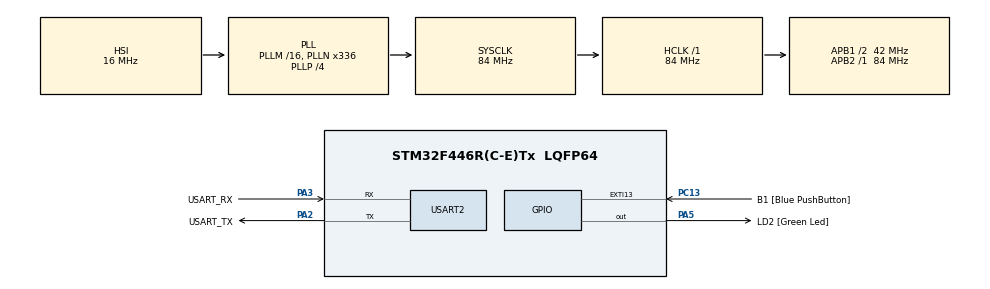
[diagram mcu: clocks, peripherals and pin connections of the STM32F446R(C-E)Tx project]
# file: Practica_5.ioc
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Mcu.Family=STM32F4
Mcu.Name=STM32F446R(C-E)Tx
Mcu.Package=LQFP64
NVIC.PriorityGroup=NVIC_PRIORITYGROUP_0
NVIC.USART2_IRQn=true\:0\:0\:false\:false\:true\:true\:true\:true
PA13.GPIO_Label=TMS
PA13.Mode=Serial_Wire
PA13.Signal=SYS_JTMS-SWDIO
PA14.GPIO_Label=TCK
PA14.Mode=Serial_Wire
PA14.Signal=SYS_JTCK-SWCLK
PA2.GPIO_Label=USART_TX
PA2.Mode=Asynchronous
PA2.Signal=USART2_TX
PA3.GPIO_Label=USART_RX
PA3.Mode=Asynchronous
PA3.Signal=USART2_RX
PA5.GPIO_Label=LD2 [Green Led]
PA5.Signal=GPIO_Output
PB3.GPIO_Label=SWO
PB3.Signal=SYS_JTDO-SWO
PC13.GPIO_Label=B1 [Blue PushButton]
PC13.GPIO_ModeDefaultEXTI=GPIO_MODE_IT_FALLING
PC13.Signal=GPXTI13
PC14-OSC32_IN.Mode=LSE-External-Oscillator
PC14-OSC32_IN.Signal=RCC_OSC32_IN
PC15-OSC32_OUT.Mode=LSE-External-Oscillator
PC15-OSC32_OUT.Signal=RCC_OSC32_OUT
PH0-OSC_IN.Mode=HSE-External-Oscillator
PH0-OSC_IN.Signal=RCC_OSC_IN
PH1-OSC_OUT.Mode=HSE-External-Oscillator
PH1-OSC_OUT.Signal=RCC_OSC_OUT
ProjectManager.HeapSize=0x200
ProjectManager.StackSize=0x400
ProjectManager.TargetToolchain=STM32CubeIDE
RCC.48MHZClocksFreq_Value=84000000
RCC.AHBFreq_Value=84000000
RCC.APB1CLKDivider=RCC_HCLK_DIV2
RCC.APB1Freq_Value=42000000
RCC.APB1TimFreq_Value=84000000
RCC.APB2Freq_Value=84000000
RCC.APB2TimFreq_Value=84000000
RCC.CortexFreq_Value=84000000
RCC.FLatency-AdvancedSettings=FLASH_LATENCY_2
RCC.HCLKFreq_Value=84000000
RCC.HSE_VALUE=8000000
RCC.HSI_VALUE=16000000
RCC.PLLN=336
RCC.PLLP=RCC_PLLP_DIV4
RCC.SYSCLKFreq_VALUE=84000000
RCC.SYSCLKSource=RCC_SYSCLKSOURCE_PLLCLK
RCC.USBFreq_Value=168000000
RCC.VCOOutputFreq_Value=336000000
USART2.VirtualMode=VM_ASYNC
board=NUCLEO-F446RE

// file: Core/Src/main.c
/* USER CODE BEGIN Header */
/**
  ******************************************************************************
  * @file           : main.c
  * @brief          : Main program body
  ******************************************************************************
  * @attention
  *
  * Copyright (c) 2025 STMicroelectronics.
  * All rights reserved.
  *
  * This software is licensed under terms that can be found in the LICENSE file
  * in the root directory of this software component.
  * If no LICENSE file comes with this software, it is provided AS-IS.
  *
  ******************************************************************************
  */
/* USER CODE END Header */
#include "main.h"

/* USER CODE BEGIN Includes */
#include <stdint.h>
#include <API_delay.h>
#include <API_debounce.h>
#include <API_uart.h>
/* USER CODE END Includes */

UART_HandleTypeDef huart2;

void SystemClock_Config(void);
static void MX_GPIO_Init(void);
static void MX_USART2_UART_Init(void);

int main(void)
{

  /* MCU Configuration--------------------------------------------------------*/

  /* Reset of all peripherals, Initializes the Flash interface and the Systick. */
  HAL_Init();

  /* Configure the system clock */
  SystemClock_Config();

  /* Initialize all configured peripherals */
  MX_GPIO_Init();
  MX_USART2_UART_Init();
  uartInit();
  /* USER CODE BEGIN 2 */
  // Different time periods to iterate
  uint32_t time_array [] = {500, 100};
  // Size of time array
  static const int t_size = sizeof(time_array) / sizeof(time_array[0]);
  // Variable to select blinking period
  uint8_t time_select = 0;
  delay_t delay;
  /* USER CODE END 2 */

  /* Infinite loop */
  /* USER CODE BEGIN WHILE */
  // We begin with a turned off LED
  HAL_GPIO_WritePin(LD2_GPIO_Port, LD2_Pin, GPIO_PIN_RESET);
  delayInit(&delay, time_array[time_select]);

  while (1)
  {
	  // If sufficient time elapsed, toggle LED
	  if(delayRead(&delay)){
		  HAL_GPIO_TogglePin(LD2_GPIO_Port, LD2_Pin);
		  // Re-initialize the timer
		  delayInit(&delay, time_array[time_select]);
	  }

	  debounceFSM_update();
	  uartCheckCommand_IT();    // Reacciona si llegó un 'c'

	  // Check if the pattern amount was met
	  if(read_key()){
		  // Select next time on a circle array
		  time_select = (time_select + 1)% t_size;
	  }
    /* USER CODE END WHILE */

  }
}

void SystemClock_Config(void)
{
  RCC_OscInitTypeDef RCC_OscInitStruct = {0};
  RCC_ClkInitTypeDef RCC_ClkInitStruct = {0};

  /** Configure the main internal regulator output voltage
  */
  __HAL_RCC_PWR_CLK_ENABLE();
  __HAL_PWR_VOLTAGESCALING_CONFIG(PWR_REGULATOR_VOLTAGE_SCALE3);

  /** Initializes the RCC Oscillators according to the specified parameters
  * in the RCC_OscInitTypeDef structure.
  */
  RCC_OscInitStruct.OscillatorType = RCC_OSCILLATORTYPE_HSI;
  RCC_OscInitStruct.HSIState = RCC_HSI_ON;
  RCC_OscInitStruct.HSICalibrationValue = RCC_HSICALIBRATION_DEFAULT;
  RCC_OscInitStruct.PLL.PLLState = RCC_PLL_ON;
  RCC_OscInitStruct.PLL.PLLSource = RCC_PLLSOURCE_HSI;
  RCC_OscInitStruct.PLL.PLLM = 16;
  RCC_OscInitStruct.PLL.PLLN = 336;
  RCC_OscInitStruct.PLL.PLLP = RCC_PLLP_DIV4;
  RCC_OscInitStruct.PLL.PLLQ = 2;
  RCC_OscInitStruct.PLL.PLLR = 2;
  if (HAL_RCC_OscConfig(&RCC_OscInitStruct) != HAL_OK)
  {
    Error_Handler();
  }

  /** Initializes the CPU, AHB and APB buses clocks
  */
  RCC_ClkInitStruct.ClockType = RCC_CLOCKTYPE_HCLK|RCC_CLOCKTYPE_SYSCLK
                              |RCC_CLOCKTYPE_PCLK1|RCC_CLOCKTYPE_PCLK2;
  RCC_ClkInitStruct.SYSCLKSource = RCC_SYSCLKSOURCE_PLLCLK;
  RCC_ClkInitStruct.AHBCLKDivider = RCC_SYSCLK_DIV1;
  RCC_ClkInitStruct.APB1CLKDivider = RCC_HCLK_DIV2;
  RCC_ClkInitStruct.APB2CLKDivider = RCC_HCLK_DIV1;

  if (HAL_RCC_ClockConfig(&RCC_ClkInitStruct, FLASH_LATENCY_2) != HAL_OK)
  {
    Error_Handler();
  }
}

static void MX_USART2_UART_Init(void)
{

  huart2.Instance = USART2;
  huart2.Init.BaudRate = 115200;
  huart2.Init.WordLength = UART_WORDLENGTH_8B;
  huart2.Init.StopBits = UART_STOPBITS_1;
  huart2.Init.Parity = UART_PARITY_NONE;
  huart2.Init.Mode = UART_MODE_TX_RX;
  huart2.Init.HwFlowCtl = UART_HWCONTROL_NONE;
  huart2.Init.OverSampling = UART_OVERSAMPLING_16;
  if (HAL_UART_Init(&huart2) != HAL_OK)
  {
    Error_Handler();
  }

}

static void MX_GPIO_Init(void)
{
  GPIO_InitTypeDef GPIO_InitStruct = {0};

  /* GPIO Ports Clock Enable */
  __HAL_RCC_GPIOC_CLK_ENABLE();
  __HAL_RCC_GPIOH_CLK_ENABLE();
  __HAL_RCC_GPIOA_CLK_ENABLE();
  __HAL_RCC_GPIOB_CLK_ENABLE();

  /*Configure GPIO pin Output Level */
  HAL_GPIO_WritePin(LD2_GPIO_Port, LD2_Pin, GPIO_PIN_RESET);

  /*Configure GPIO pin : B1_Pin */
  GPIO_InitStruct.Pin = B1_Pin;
  GPIO_InitStruct.Mode = GPIO_MODE_IT_FALLING;
  GPIO_InitStruct.Pull = GPIO_NOPULL;
  HAL_GPIO_Init(B1_GPIO_Port, &GPIO_InitStruct);

  /*Configure GPIO pin : LD2_Pin */
  GPIO_InitStruct.Pin = LD2_Pin;
  GPIO_InitStruct.Mode = GPIO_MODE_OUTPUT_PP;
  GPIO_InitStruct.Pull = GPIO_NOPULL;
  GPIO_InitStruct.Speed = GPIO_SPEED_FREQ_LOW;
  HAL_GPIO_Init(LD2_GPIO_Port, &GPIO_InitStruct);

}

void Error_Handler(void)
{
  __disable_irq();
  while (1)
  {
  }
}
